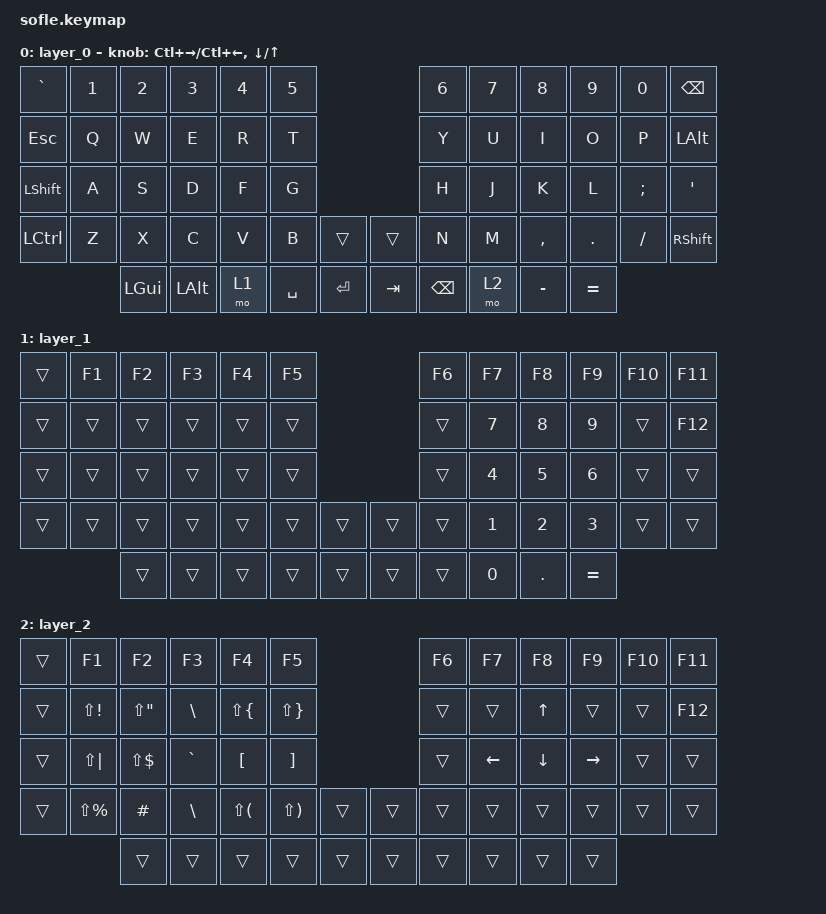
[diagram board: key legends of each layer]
#include <behaviors.dtsi>
#include <dt-bindings/zmk/keys.h>

/ {
    keymap {
        compatible = "zmk,keymap";

        layer_0 {
            bindings = <
&kp GRAVE  &kp N1  &kp N2    &kp N3    &kp N4  &kp N5                         &kp N6    &kp N7  &kp N8     &kp N9     &kp N0    &kp BSPC
&kp ESC    &kp Q   &kp W     &kp E     &kp R   &kp T                          &kp Y     &kp U   &kp I      &kp O      &kp P     &kp LALT
&kp LSHFT  &kp A   &kp S     &kp D     &kp F   &kp G                          &kp H     &kp J   &kp K      &kp L      &kp SEMI  &kp SQT
&kp LCTRL  &kp Z   &kp X     &kp C     &kp V   &kp B      &trans     &trans   &kp N     &kp M   &kp COMMA  &kp DOT    &kp FSLH  &kp RSHFT
                   &kp LGUI  &kp LALT  &mo 1   &kp SPACE  &kp RET    &kp TAB  &kp BSPC  &mo 2   &kp MINUS  &kp EQUAL
            >;

            sensor-bindings =
                <&inc_dec_kp LC(RIGHT) LC(LEFT)>,
                <&inc_dec_kp DOWN_ARROW UP_ARROW>;
        };

        layer_1 {
            bindings = <
&trans  &kp F1  &kp F2  &kp F3  &kp F4  &kp F5                    &kp F6  &kp F7  &kp F8   &kp F9     &kp F10  &kp F11
&trans  &trans  &trans  &trans  &trans  &trans                    &trans  &kp N7  &kp N8   &kp N9     &trans   &kp F12
&trans  &trans  &trans  &trans  &trans  &trans                    &trans  &kp N4  &kp N5   &kp N6     &trans   &trans
&trans  &trans  &trans  &trans  &trans  &trans  &trans    &trans  &trans  &kp N1  &kp N2   &kp N3     &trans   &trans
                &trans  &trans  &trans  &trans  &trans    &trans  &trans  &kp N0  &kp DOT  &kp EQUAL
            >;
        };

        layer_2 {
            bindings = <
&trans  &kp F1         &kp F2        &kp F3     &kp F4        &kp F5                          &kp F6  &kp F7    &kp F8    &kp F9     &kp F10  &kp F11
&trans  &kp LS(EXCL)   &kp LS(DQT)   &kp BSLH   &kp LS(LBRC)  &kp LS(RBRC)                    &trans  &trans    &kp UP    &trans     &trans   &kp F12
&trans  &kp LS(PIPE)   &kp LS(DLLR)  &kp GRAVE  &kp LBKT      &kp RBKT                        &trans  &kp LEFT  &kp DOWN  &kp RIGHT  &trans   &trans
&trans  &kp LS(PRCNT)  &kp POUND     &kp BSLH   &kp LS(LPAR)  &kp LS(RPAR)  &trans    &trans  &trans  &trans    &trans    &trans     &trans   &trans
                       &trans        &trans     &trans        &trans        &trans    &trans  &trans  &trans    &trans    &trans
            >;
        };
    };
};
